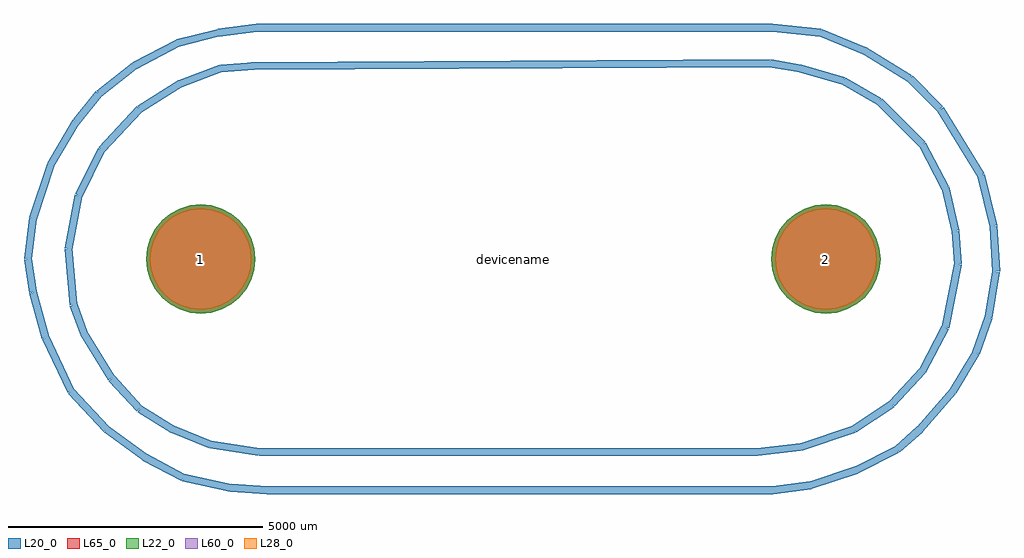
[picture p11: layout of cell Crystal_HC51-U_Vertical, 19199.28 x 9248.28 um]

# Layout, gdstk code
import gdstk
lib = gdstk.Library(unit=1e-6, precision=1e-09)
def P(c, l, *ps):  # polygons
    for p in ps: c.add(gdstk.Polygon(p, *l))
L20_0 = (20, 0)
L22_0 = (22, 0)
L28_0 = (28, 0)
L60_0 = (60, 0)
L65_0 = (65, 0)

crystal_hc51_u_vertical = lib.new_cell('Crystal_HC51-U_Vertical')
P(crystal_hc51_u_vertical, L22_0, [(7223.83,0),(7203.184,209.623),(7142.039,411.19),(7042.746,596.955),(6909.119,759.779),(6746.295,893.406),(6560.53,992.699),(6358.963,1053.844),(6149.34,1074.49),(5939.717,1053.844),(5738.15,992.699),(5552.385,893.406),(5389.561,759.779),(5255.934,596.955),(5156.641,411.19),(5095.496,209.623),(5074.85,0),(5095.496,-209.623),(5156.641,-411.19),(5255.934,-596.955),(5389.561,-759.779),(5552.385,-893.406),(5738.15,-992.699),(5939.717,-1053.844),(6149.34,-1074.49),(6358.963,-1053.844),(6560.53,-992.699),(6746.295,-893.406),(6909.119,-759.779),(7042.746,-596.955),(7142.039,-411.19),(7203.184,-209.623)],
  [(-5074.85,0),(-5095.496,209.623),(-5156.641,411.19),(-5255.934,596.955),(-5389.561,759.779),(-5552.385,893.406),(-5738.15,992.699),(-5939.717,1053.844),(-6149.34,1074.49),(-6358.963,1053.844),(-6560.53,992.699),(-6746.295,893.406),(-6909.119,759.779),(-7042.746,596.955),(-7142.039,411.19),(-7203.184,209.623),(-7223.83,0),(-7203.184,-209.623),(-7142.039,-411.19),(-7042.746,-596.955),(-6909.119,-759.779),(-6746.295,-893.406),(-6560.53,-992.699),(-6358.963,-1053.844),(-6149.34,-1074.49),(-5939.717,-1053.844),(-5738.15,-992.699),(-5552.385,-893.406),(-5389.561,-759.779),(-5255.934,-596.955),(-5156.641,-411.19),(-5095.496,-209.623)])
P(crystal_hc51_u_vertical, L28_0, [(7148.83,0),(7129.625,194.991),(7072.748,382.488),(6980.386,555.287),(6856.086,706.746),(6704.627,831.046),(6531.828,923.408),(6344.331,980.285),(6149.34,999.49),(5954.349,980.285),(5766.852,923.408),(5594.053,831.046),(5442.594,706.746),(5318.294,555.287),(5225.932,382.488),(5169.055,194.991),(5149.85,0),(5169.055,-194.991),(5225.932,-382.488),(5318.294,-555.287),(5442.594,-706.746),(5594.053,-831.046),(5766.852,-923.408),(5954.349,-980.285),(6149.34,-999.49),(6344.331,-980.285),(6531.828,-923.408),(6704.627,-831.046),(6856.086,-706.746),(6980.386,-555.287),(7072.748,-382.488),(7129.625,-194.991)],
  [(-5149.85,0),(-5169.055,194.991),(-5225.932,382.488),(-5318.294,555.287),(-5442.594,706.746),(-5594.053,831.046),(-5766.852,923.408),(-5954.349,980.285),(-6149.34,999.49),(-6344.331,980.285),(-6531.828,923.408),(-6704.627,831.046),(-6856.086,706.746),(-6980.386,555.287),(-7072.748,382.488),(-7129.625,194.991),(-7148.83,0),(-7129.625,-194.991),(-7072.748,-382.488),(-6980.386,-555.287),(-6856.086,-706.746),(-6704.627,-831.046),(-6531.828,-923.408),(-6344.331,-980.285),(-6149.34,-999.49),(-5954.349,-980.285),(-5766.852,-923.408),(-5594.053,-831.046),(-5442.594,-706.746),(-5318.294,-555.287),(-5225.932,-382.488),(-5169.055,-194.991)])
P(crystal_hc51_u_vertical, L60_0, [(7148.83,0),(7129.625,194.991),(7072.748,382.488),(6980.386,555.287),(6856.086,706.746),(6704.627,831.046),(6531.828,923.408),(6344.331,980.285),(6149.34,999.49),(5954.349,980.285),(5766.852,923.408),(5594.053,831.046),(5442.594,706.746),(5318.294,555.287),(5225.932,382.488),(5169.055,194.991),(5149.85,0),(5169.055,-194.991),(5225.932,-382.488),(5318.294,-555.287),(5442.594,-706.746),(5594.053,-831.046),(5766.852,-923.408),(5954.349,-980.285),(6149.34,-999.49),(6344.331,-980.285),(6531.828,-923.408),(6704.627,-831.046),(6856.086,-706.746),(6980.386,-555.287),(7072.748,-382.488),(7129.625,-194.991)],
  [(-5149.85,0),(-5169.055,194.991),(-5225.932,382.488),(-5318.294,555.287),(-5442.594,706.746),(-5594.053,831.046),(-5766.852,923.408),(-5954.349,980.285),(-6149.34,999.49),(-6344.331,980.285),(-6531.828,923.408),(-6704.627,831.046),(-6856.086,706.746),(-6980.386,555.287),(-7072.748,382.488),(-7129.625,194.991),(-7148.83,0),(-7129.625,-194.991),(-7072.748,-382.488),(-6980.386,-555.287),(-6856.086,-706.746),(-6704.627,-831.046),(-6531.828,-923.408),(-6344.331,-980.285),(-6149.34,-999.49),(-5954.349,-980.285),(-5766.852,-923.408),(-5594.053,-831.046),(-5442.594,-706.746),(-5318.294,-555.287),(-5225.932,-382.488),(-5169.055,-194.991)])
P(crystal_hc51_u_vertical, L65_0, [(7223.83,0),(7203.184,209.623),(7142.039,411.19),(7042.746,596.955),(6909.119,759.779),(6746.295,893.406),(6560.53,992.699),(6358.963,1053.844),(6149.34,1074.49),(5939.717,1053.844),(5738.15,992.699),(5552.385,893.406),(5389.561,759.779),(5255.934,596.955),(5156.641,411.19),(5095.496,209.623),(5074.85,0),(5095.496,-209.623),(5156.641,-411.19),(5255.934,-596.955),(5389.561,-759.779),(5552.385,-893.406),(5738.15,-992.699),(5939.717,-1053.844),(6149.34,-1074.49),(6358.963,-1053.844),(6560.53,-992.699),(6746.295,-893.406),(6909.119,-759.779),(7042.746,-596.955),(7142.039,-411.19),(7203.184,-209.623)],
  [(-5074.85,0),(-5095.496,209.623),(-5156.641,411.19),(-5255.934,596.955),(-5389.561,759.779),(-5552.385,893.406),(-5738.15,992.699),(-5939.717,1053.844),(-6149.34,1074.49),(-6358.963,1053.844),(-6560.53,992.699),(-6746.295,893.406),(-6909.119,759.779),(-7042.746,596.955),(-7142.039,411.19),(-7203.184,209.623),(-7223.83,0),(-7203.184,-209.623),(-7142.039,-411.19),(-7042.746,-596.955),(-6909.119,-759.779),(-6746.295,-893.406),(-6560.53,-992.699),(-6358.963,-1053.844),(-6149.34,-1074.49),(-5939.717,-1053.844),(-5738.15,-992.699),(-5552.385,-893.406),(-5389.561,-759.779),(-5255.934,-596.955),(-5156.641,-411.19),(-5095.496,-209.623)])
crystal_hc51_u_vertical.add(gdstk.FlexPath([(5849.62,-4450.08),(5100.32,-4549.14)], 149.998, ends="flush", simple_path=True, layer=20, datatype=0))  # L20_0
crystal_hc51_u_vertical.add(gdstk.FlexPath([(6748.78,-4150.36),(5849.62,-4450.08)], 149.998, ends="flush", simple_path=True, layer=20, datatype=0))  # L20_0
crystal_hc51_u_vertical.add(gdstk.FlexPath([(7548.88,-3749.04),(6748.78,-4150.36)], 149.998, ends="flush", simple_path=True, layer=20, datatype=0))  # L20_0
crystal_hc51_u_vertical.add(gdstk.FlexPath([(8001,-3350.26),(7548.88,-3749.04)], 149.998, ends="flush", simple_path=True, layer=20, datatype=0))  # L20_0
crystal_hc51_u_vertical.add(gdstk.FlexPath([(8651.24,-2600.96),(8001,-3350.26)], 149.998, ends="flush", simple_path=True, layer=20, datatype=0))  # L20_0
crystal_hc51_u_vertical.add(gdstk.FlexPath([(9100.82,-1849.12),(8651.24,-2600.96)], 149.998, ends="flush", simple_path=True, layer=20, datatype=0))  # L20_0
crystal_hc51_u_vertical.add(gdstk.FlexPath([(9349.74,-1150.62),(9100.82,-1849.12)], 149.998, ends="flush", simple_path=True, layer=20, datatype=0))  # L20_0
crystal_hc51_u_vertical.add(gdstk.FlexPath([(9499.6,-248.92),(9349.74,-1150.62)], 149.998, ends="flush", simple_path=True, layer=20, datatype=0))  # L20_0
crystal_hc51_u_vertical.add(gdstk.FlexPath([(9448.8,650.24),(9499.6,-248.92)], 149.998, ends="flush", simple_path=True, layer=20, datatype=0))  # L20_0
crystal_hc51_u_vertical.add(gdstk.FlexPath([(9199.88,1651),(9448.8,650.24)], 149.998, ends="flush", simple_path=True, layer=20, datatype=0))  # L20_0
crystal_hc51_u_vertical.add(gdstk.FlexPath([(8399.78,2948.94),(9199.88,1651)], 149.998, ends="flush", simple_path=True, layer=20, datatype=0))  # L20_0
crystal_hc51_u_vertical.add(gdstk.FlexPath([(7800.34,3550.92),(8399.78,2948.94)], 149.998, ends="flush", simple_path=True, layer=20, datatype=0))  # L20_0
crystal_hc51_u_vertical.add(gdstk.FlexPath([(6901.18,4099.56),(7800.34,3550.92)], 149.998, ends="flush", simple_path=True, layer=20, datatype=0))  # L20_0
crystal_hc51_u_vertical.add(gdstk.FlexPath([(6050.28,4450.08),(6901.18,4099.56)], 149.998, ends="flush", simple_path=True, layer=20, datatype=0))  # L20_0
crystal_hc51_u_vertical.add(gdstk.FlexPath([(5100.32,4549.14),(6050.28,4450.08)], 149.998, ends="flush", simple_path=True, layer=20, datatype=0))  # L20_0
crystal_hc51_u_vertical.add(gdstk.FlexPath([(-5049.52,4549.14),(5100.32,4549.14)], 149.998, ends="flush", simple_path=True, layer=20, datatype=0))  # L20_0
crystal_hc51_u_vertical.add(gdstk.FlexPath([(-5798.82,4450.08),(-5049.52,4549.14)], 149.998, ends="flush", simple_path=True, layer=20, datatype=0))  # L20_0
crystal_hc51_u_vertical.add(gdstk.FlexPath([(-6598.92,4249.42),(-5798.82,4450.08)], 149.998, ends="flush", simple_path=True, layer=20, datatype=0))  # L20_0
crystal_hc51_u_vertical.add(gdstk.FlexPath([(-7449.82,3799.84),(-6598.92,4249.42)], 149.998, ends="flush", simple_path=True, layer=20, datatype=0))  # L20_0
crystal_hc51_u_vertical.add(gdstk.FlexPath([(-8150.86,3251.2),(-7449.82,3799.84)], 149.998, ends="flush", simple_path=True, layer=20, datatype=0))  # L20_0
crystal_hc51_u_vertical.add(gdstk.FlexPath([(-8600.44,2700.02),(-8150.86,3251.2)], 149.998, ends="flush", simple_path=True, layer=20, datatype=0))  # L20_0
crystal_hc51_u_vertical.add(gdstk.FlexPath([(-9100.82,1849.12),(-8600.44,2700.02)], 149.998, ends="flush", simple_path=True, layer=20, datatype=0))  # L20_0
crystal_hc51_u_vertical.add(gdstk.FlexPath([(-9448.8,800.1),(-9100.82,1849.12)], 149.998, ends="flush", simple_path=True, layer=20, datatype=0))  # L20_0
crystal_hc51_u_vertical.add(gdstk.FlexPath([(-9550.4,0),(-9448.8,800.1)], 149.998, ends="flush", simple_path=True, layer=20, datatype=0))  # L20_0
crystal_hc51_u_vertical.add(gdstk.FlexPath([(-9448.8,-650.24),(-9550.4,0)], 149.998, ends="flush", simple_path=True, layer=20, datatype=0))  # L20_0
crystal_hc51_u_vertical.add(gdstk.FlexPath([(-9199.88,-1549.4),(-9448.8,-650.24)], 149.998, ends="flush", simple_path=True, layer=20, datatype=0))  # L20_0
crystal_hc51_u_vertical.add(gdstk.FlexPath([(-8699.5,-2600.96),(-9199.88,-1549.4)], 149.998, ends="flush", simple_path=True, layer=20, datatype=0))  # L20_0
crystal_hc51_u_vertical.add(gdstk.FlexPath([(-8001,-3350.26),(-8699.5,-2600.96)], 149.998, ends="flush", simple_path=True, layer=20, datatype=0))  # L20_0
crystal_hc51_u_vertical.add(gdstk.FlexPath([(-7249.16,-3898.9),(-8001,-3350.26)], 149.998, ends="flush", simple_path=True, layer=20, datatype=0))  # L20_0
crystal_hc51_u_vertical.add(gdstk.FlexPath([(-6499.86,-4300.22),(-7249.16,-3898.9)], 149.998, ends="flush", simple_path=True, layer=20, datatype=0))  # L20_0
crystal_hc51_u_vertical.add(gdstk.FlexPath([(-5549.9,-4500.88),(-6499.86,-4300.22)], 149.998, ends="flush", simple_path=True, layer=20, datatype=0))  # L20_0
crystal_hc51_u_vertical.add(gdstk.FlexPath([(-4848.86,-4549.14),(-5549.9,-4500.88)], 149.998, ends="flush", simple_path=True, layer=20, datatype=0))  # L20_0
crystal_hc51_u_vertical.add(gdstk.FlexPath([(5100.32,-4549.14),(-4848.86,-4549.14)], 149.998, ends="flush", simple_path=True, layer=20, datatype=0))  # L20_0
crystal_hc51_u_vertical.add(gdstk.FlexPath([(-5750.56,3749.04),(-5100.32,3799.84)], 149.998, ends="flush", simple_path=True, layer=20, datatype=0))  # L20_0
crystal_hc51_u_vertical.add(gdstk.FlexPath([(-6550.66,3449.32),(-5750.56,3749.04)], 149.998, ends="flush", simple_path=True, layer=20, datatype=0))  # L20_0
crystal_hc51_u_vertical.add(gdstk.FlexPath([(-7350.76,2948.94),(-6550.66,3449.32)], 149.998, ends="flush", simple_path=True, layer=20, datatype=0))  # L20_0
crystal_hc51_u_vertical.add(gdstk.FlexPath([(-8100.06,2148.84),(-7350.76,2948.94)], 149.998, ends="flush", simple_path=True, layer=20, datatype=0))  # L20_0
crystal_hc51_u_vertical.add(gdstk.FlexPath([(-8549.64,1249.68),(-8100.06,2148.84)], 149.998, ends="flush", simple_path=True, layer=20, datatype=0))  # L20_0
crystal_hc51_u_vertical.add(gdstk.FlexPath([(-8750.3,200.66),(-8549.64,1249.68)], 149.998, ends="flush", simple_path=True, layer=20, datatype=0))  # L20_0
crystal_hc51_u_vertical.add(gdstk.FlexPath([(-8651.24,-899.16),(-8750.3,200.66)], 149.998, ends="flush", simple_path=True, layer=20, datatype=0))  # L20_0
crystal_hc51_u_vertical.add(gdstk.FlexPath([(-8450.58,-1450.34),(-8651.24,-899.16)], 149.998, ends="flush", simple_path=True, layer=20, datatype=0))  # L20_0
crystal_hc51_u_vertical.add(gdstk.FlexPath([(-7899.4,-2349.5),(-8450.58,-1450.34)], 149.998, ends="flush", simple_path=True, layer=20, datatype=0))  # L20_0
crystal_hc51_u_vertical.add(gdstk.FlexPath([(-7350.76,-2948.94),(-7899.4,-2349.5)], 149.998, ends="flush", simple_path=True, layer=20, datatype=0))  # L20_0
crystal_hc51_u_vertical.add(gdstk.FlexPath([(-6700.52,-3350.26),(-7350.76,-2948.94)], 149.998, ends="flush", simple_path=True, layer=20, datatype=0))  # L20_0
crystal_hc51_u_vertical.add(gdstk.FlexPath([(-5951.22,-3649.98),(-6700.52,-3350.26)], 149.998, ends="flush", simple_path=True, layer=20, datatype=0))  # L20_0
crystal_hc51_u_vertical.add(gdstk.FlexPath([(-5001.26,-3799.84),(-5951.22,-3649.98)], 149.998, ends="flush", simple_path=True, layer=20, datatype=0))  # L20_0
crystal_hc51_u_vertical.add(gdstk.FlexPath([(4800.6,-3799.84),(-5001.26,-3799.84)], 149.998, ends="flush", simple_path=True, layer=20, datatype=0))  # L20_0
crystal_hc51_u_vertical.add(gdstk.FlexPath([(5648.96,-3700.78),(4800.6,-3799.84)], 149.998, ends="flush", simple_path=True, layer=20, datatype=0))  # L20_0
crystal_hc51_u_vertical.add(gdstk.FlexPath([(6700.52,-3350.26),(5648.96,-3700.78)], 149.998, ends="flush", simple_path=True, layer=20, datatype=0))  # L20_0
crystal_hc51_u_vertical.add(gdstk.FlexPath([(7449.82,-2849.88),(6700.52,-3350.26)], 149.998, ends="flush", simple_path=True, layer=20, datatype=0))  # L20_0
crystal_hc51_u_vertical.add(gdstk.FlexPath([(8049.26,-2199.64),(7449.82,-2849.88)], 149.998, ends="flush", simple_path=True, layer=20, datatype=0))  # L20_0
crystal_hc51_u_vertical.add(gdstk.FlexPath([(8498.84,-1348.74),(8049.26,-2199.64)], 149.998, ends="flush", simple_path=True, layer=20, datatype=0))  # L20_0
crystal_hc51_u_vertical.add(gdstk.FlexPath([(8750.3,-99.06),(8498.84,-1348.74)], 149.998, ends="flush", simple_path=True, layer=20, datatype=0))  # L20_0
crystal_hc51_u_vertical.add(gdstk.FlexPath([(8699.5,551.18),(8750.3,-99.06)], 149.998, ends="flush", simple_path=True, layer=20, datatype=0))  # L20_0
crystal_hc51_u_vertical.add(gdstk.FlexPath([(8498.84,1399.54),(8699.5,551.18)], 149.998, ends="flush", simple_path=True, layer=20, datatype=0))  # L20_0
crystal_hc51_u_vertical.add(gdstk.FlexPath([(8049.26,2250.44),(8498.84,1399.54)], 149.998, ends="flush", simple_path=True, layer=20, datatype=0))  # L20_0
crystal_hc51_u_vertical.add(gdstk.FlexPath([(7200.9,3098.8),(8049.26,2250.44)], 149.998, ends="flush", simple_path=True, layer=20, datatype=0))  # L20_0
crystal_hc51_u_vertical.add(gdstk.FlexPath([(6499.86,3500.12),(7200.9,3098.8)], 149.998, ends="flush", simple_path=True, layer=20, datatype=0))  # L20_0
crystal_hc51_u_vertical.add(gdstk.FlexPath([(5648.96,3749.04),(6499.86,3500.12)], 149.998, ends="flush", simple_path=True, layer=20, datatype=0))  # L20_0
crystal_hc51_u_vertical.add(gdstk.FlexPath([(5049.52,3850.64),(5648.96,3749.04)], 149.998, ends="flush", simple_path=True, layer=20, datatype=0))  # L20_0
crystal_hc51_u_vertical.add(gdstk.FlexPath([(-5151.12,3799.84),(5049.52,3850.64)], 149.998, ends="flush", simple_path=True, layer=20, datatype=0))  # L20_0
crystal_hc51_u_vertical.add(gdstk.Label('2', (6149.34,0), layer=28, texttype=0))
crystal_hc51_u_vertical.add(gdstk.Label('1', (-6149.34,0), layer=28, texttype=0))
crystal_hc51_u_vertical.add(gdstk.Label('type', (0,-6350), layer=9, texttype=0))
crystal_hc51_u_vertical.add(gdstk.Label('devicename', (0,0), layer=9, texttype=0))

lib.write_gds('Crystal_HC51-U_Vertical.gds')
